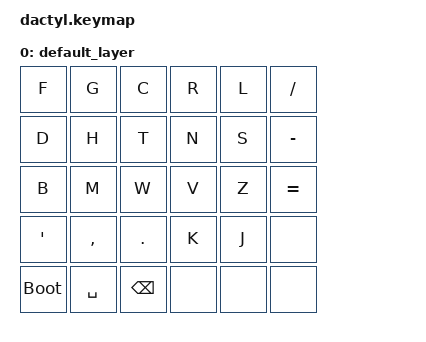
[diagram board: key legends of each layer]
// ignore this file
#include <behaviors.dtsi>
#include <dt-bindings/zmk/keys.h>

/ {
    keymap {
        compatible = "zmk,keymap";

        default_layer {
            bindings = <
            // C1       C2       C3       C4       C5       C6
            &kp F    &kp G    &kp C    &kp R    &kp L    &kp SLASH  // R1
            &kp D    &kp H    &kp T    &kp N    &kp S    &kp MINUS  // R2
            &kp B    &kp M    &kp W    &kp V    &kp Z    &kp EQUAL  // R3
            &kp SQT  &kp COMMA &kp DOT  &kp K    &kp J    &none      // R4
            &bootloader &kp SPACE &kp BSPC &none    &none    &none      // R5
            >;
        };

    };
};
